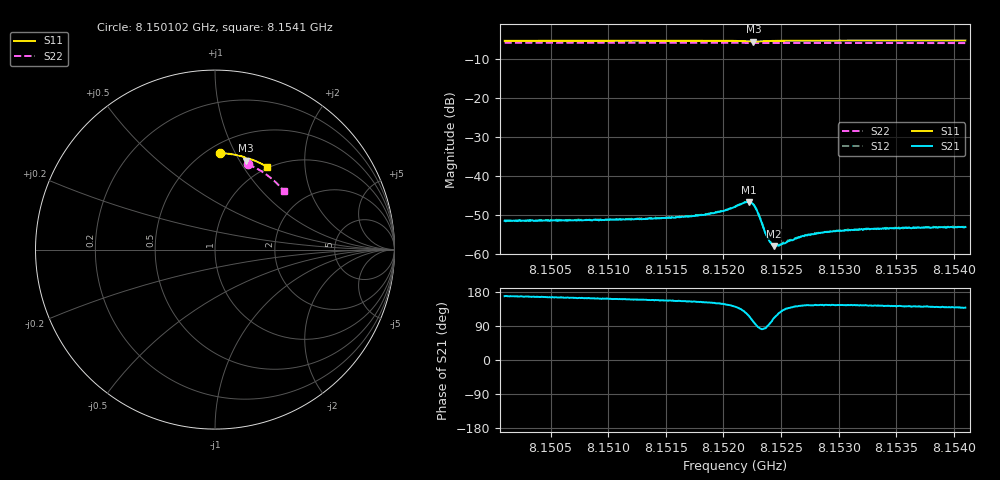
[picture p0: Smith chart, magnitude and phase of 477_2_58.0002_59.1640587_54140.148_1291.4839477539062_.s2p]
#  HZ  S  RI  R  50.00
! Rohde & Schwarz Vector Network Analyzer
! Rohde-Schwarz,ZNB20-2Port,1311601062101988,3.16
! Created: UTC 3/21/2024, 1:11:43 AM
! freq[Hz]  re:S11  im:S11  re:S21  im:S21  re:S12  im:S12  re:S22  im:S22
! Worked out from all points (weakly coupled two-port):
!   401 points, 8.150102 GHz to 8.1541 GHz, reference 50 ohm
!   highest |S21| = -46.70 dB at 8.152221 GHz (marker M1); lowest = -58.0 dB at 8.152441 GHz (marker M2)
!   lowest |S11| = -5.6 dB at 8.152261 GHz (marker M3), VSWR 3.22, Z = 38.9 + j53.4 ohm
!   |S11| at or under -10 dB: nowhere
!   |S22| runs from -6.0 to -5.9 dB; largest |S21 - S12| = 0.00011
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8.1501017e9  0.0305 0.5375  -0.00259 0.000527  -0.00263 0.000563  0.1828 0.4757
8.1507714e9  0.0771 0.5339  -0.00257 0.000738  -0.00261 0.000831  0.2218 0.4578
8.151441e9  0.1236 0.5261  -0.00264 0.00109  -0.00262 0.00113  0.2591 0.4367
8.1518309e9  0.1512 0.519  -0.00278 0.00145  -0.00283 0.00151  0.2796 0.423
8.1519808e9  0.1623 0.5149  -0.00296 0.00184  -0.00299 0.00189  0.2875 0.4173
8.1521007e9  0.1717 0.5096  -0.0031 0.00252  -0.00308 0.00258  0.2937 0.4127
8.1521807e9  0.1765 0.5029  -0.00279 0.00356  -0.00277 0.0036  0.2977 0.4095
8.1522207e9  0.1762 0.4986  -0.00207 0.00414  -0.002 0.00419  0.2995 0.4076
8.1522607e9  0.173 0.4964  -0.000793 0.00418  -0.000751 0.00424  0.3014 0.4063
8.1522806e9  0.1713 0.497  -0.000205 0.00384  -0.000133 0.00385  0.3021 0.4055
8.1523006e9  0.1702 0.4989  0.000178 0.0033  0.00024 0.00333  0.3031 0.4047
8.1523806e9  0.1746 0.5052  2.36e-05 0.00165  4.36e-05 0.00163  0.307 0.4021
8.1524106e9  0.1774 0.5061  -0.000218 0.00136  -0.000189 0.0014  0.3088 0.4008
8.1524406e9  0.1805 0.5066  -0.000458 0.00117  -0.000399 0.00122  0.3102 0.3999
8.1524906e9  0.1849 0.5065  -0.000747 0.00106  -0.000743 0.00107  0.3128 0.3977
8.1525605e9  0.1908 0.5055  -0.00105 0.000993  -0.00107 0.00102  0.3162 0.3949
8.1526705e9  0.1993 0.5032  -0.00132 0.000991  -0.00131 0.00101  0.3215 0.3904
8.1527704e9  0.2065 0.5009  -0.00145 0.00104  -0.00144 0.00106  0.3263 0.3861
8.1528704e9  0.2132 0.4983  -0.00151 0.0011  -0.00153 0.00111  0.3311 0.3821
8.1531003e9  0.2286 0.4922  -0.00163 0.00115  -0.00164 0.00117  0.3417 0.3721
8.1534401e9  0.2504 0.4823  -0.00169 0.00128  -0.00168 0.00127  0.3567 0.3567
8.1540998e9  0.2906 0.4604  -0.00164 0.00146  -0.0016 0.0015  0.3842 0.3255
